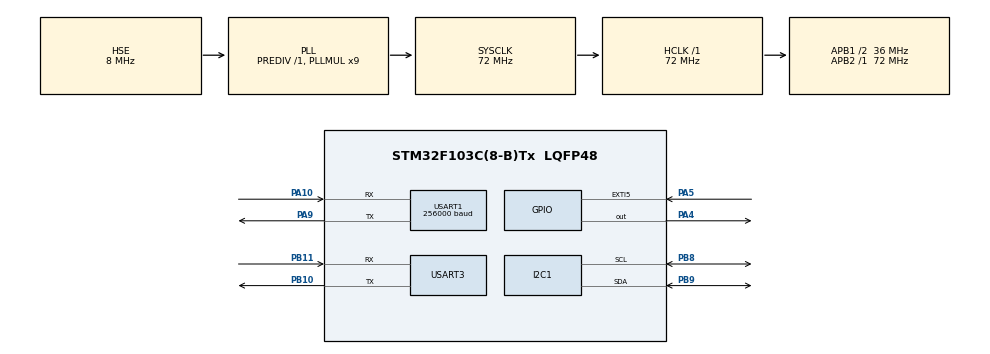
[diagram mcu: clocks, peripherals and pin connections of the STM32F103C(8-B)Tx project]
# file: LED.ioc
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FREERTOS.Tasks01=defaultTask,24,128,StartDefaultTask,Default,NULL,Dynamic,NULL,NULL
FREERTOS.configUSE_NEWLIB_REENTRANT=1
I2C1.I2C_Mode=I2C_Fast
Mcu.Family=STM32F1
Mcu.Name=STM32F103C(8-B)Tx
Mcu.Package=LQFP48
NVIC.EXTI9_5_IRQn=true\:5\:0\:false\:false\:true\:true\:true\:true\:true
NVIC.PriorityGroup=NVIC_PRIORITYGROUP_4
NVIC.TIM3_IRQn=true\:15\:0\:false\:false\:true\:false\:false\:true\:true
NVIC.TimeBase=TIM3_IRQn
NVIC.TimeBaseIP=TIM3
PA10.Mode=Asynchronous
PA10.Signal=USART1_RX
PA4.Signal=GPIO_Output
PA5.GPIO_ModeDefaultEXTI=GPIO_MODE_IT_FALLING
PA5.GPIO_PuPd=GPIO_PULLUP
PA5.Signal=GPXTI5
PA9.Mode=Asynchronous
PA9.Signal=USART1_TX
PB10.Mode=Asynchronous
PB10.Signal=USART3_TX
PB11.Mode=Asynchronous
PB11.Signal=USART3_RX
PB8.Mode=I2C
PB8.Signal=I2C1_SCL
PB9.Mode=I2C
PB9.Signal=I2C1_SDA
PD0-OSC_IN.Mode=HSE-External-Oscillator
PD0-OSC_IN.Signal=RCC_OSC_IN
PD1-OSC_OUT.Mode=HSE-External-Oscillator
PD1-OSC_OUT.Signal=RCC_OSC_OUT
ProjectManager.HeapSize=0x200
ProjectManager.StackSize=0x400
ProjectManager.TargetToolchain=STM32CubeIDE
RCC.AHBFreq_Value=72000000
RCC.APB1CLKDivider=RCC_HCLK_DIV2
RCC.APB1Freq_Value=36000000
RCC.APB1TimFreq_Value=72000000
RCC.APB2Freq_Value=72000000
RCC.APB2TimFreq_Value=72000000
RCC.HCLKFreq_Value=72000000
RCC.PLLMUL=RCC_PLL_MUL9
RCC.PLLSourceVirtual=RCC_PLLSOURCE_HSE
RCC.SYSCLKFreq_VALUE=72000000
RCC.SYSCLKSource=RCC_SYSCLKSOURCE_PLLCLK
RCC.USBFreq_Value=72000000
USART1.BaudRate=256000
USART1.VirtualMode=VM_ASYNC
USART3.VirtualMode=VM_ASYNC
VP_FREERTOS_VS_CMSIS_V2.Mode=CMSIS_V2
VP_SYS_VS_ND.Mode=No_Debug
VP_SYS_VS_tim3.Mode=TIM3
board=custom

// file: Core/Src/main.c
/* USER CODE BEGIN Header */
/**
  ******************************************************************************
  * @file           : main.c
  * @brief          : Main program body
  ******************************************************************************
  * @attention
  *
  * Copyright (c) 2022 STMicroelectronics.
  * All rights reserved.
  *
  * This software is licensed under terms that can be found in the LICENSE file
  * in the root directory of this software component.
  * If no LICENSE file comes with this software, it is provided AS-IS.
  *
  ******************************************************************************
  */
#include "mpu6050.h"
/* USER CODE END Header */
#include "main.h"
#include "cmsis_os.h"
#include "i2c.h"
#include "usart.h"
#include "gpio.h"

void SystemClock_Config(void);
void MX_FREERTOS_Init(void);

int main(void)
{

  /* MCU Configuration--------------------------------------------------------*/

  /* Reset of all peripherals, Initializes the Flash interface and the Systick. */
  HAL_Init();

  /* Configure the system clock */
  SystemClock_Config();

  /* Initialize all configured peripherals */
  MX_GPIO_Init();
  MX_USART3_UART_Init();
  MX_USART1_UART_Init();
  MX_I2C1_Init();
  /* USER CODE BEGIN 2 */
  mpu6050_init();
  /* USER CODE END 2 */

  /* Init scheduler */
  osKernelInitialize();  /* Call init function for freertos objects (in freertos.c) */
  MX_FREERTOS_Init();

  /* Start scheduler */
  osKernelStart();

  /* We should never get here as control is now taken by the scheduler */
  /* Infinite loop */
  while (1)
  {

  }
}

void SystemClock_Config(void)
{
  RCC_OscInitTypeDef RCC_OscInitStruct = {0};
  RCC_ClkInitTypeDef RCC_ClkInitStruct = {0};

  /** Initializes the RCC Oscillators according to the specified parameters
  * in the RCC_OscInitTypeDef structure.
  */
  RCC_OscInitStruct.OscillatorType = RCC_OSCILLATORTYPE_HSE;
  RCC_OscInitStruct.HSEState = RCC_HSE_ON;
  RCC_OscInitStruct.HSEPredivValue = RCC_HSE_PREDIV_DIV1;
  RCC_OscInitStruct.HSIState = RCC_HSI_ON;
  RCC_OscInitStruct.PLL.PLLState = RCC_PLL_ON;
  RCC_OscInitStruct.PLL.PLLSource = RCC_PLLSOURCE_HSE;
  RCC_OscInitStruct.PLL.PLLMUL = RCC_PLL_MUL9;
  if (HAL_RCC_OscConfig(&RCC_OscInitStruct) != HAL_OK)
  {
    Error_Handler();
  }

  /** Initializes the CPU, AHB and APB buses clocks
  */
  RCC_ClkInitStruct.ClockType = RCC_CLOCKTYPE_HCLK|RCC_CLOCKTYPE_SYSCLK
                              |RCC_CLOCKTYPE_PCLK1|RCC_CLOCKTYPE_PCLK2;
  RCC_ClkInitStruct.SYSCLKSource = RCC_SYSCLKSOURCE_PLLCLK;
  RCC_ClkInitStruct.AHBCLKDivider = RCC_SYSCLK_DIV1;
  RCC_ClkInitStruct.APB1CLKDivider = RCC_HCLK_DIV2;
  RCC_ClkInitStruct.APB2CLKDivider = RCC_HCLK_DIV1;

  if (HAL_RCC_ClockConfig(&RCC_ClkInitStruct, FLASH_LATENCY_2) != HAL_OK)
  {
    Error_Handler();
  }
}

void HAL_TIM_PeriodElapsedCallback(TIM_HandleTypeDef *htim)
{
  if (htim->Instance == TIM3) {
    HAL_IncTick();
  }
}

void Error_Handler(void)
{
  __disable_irq();
  while (1)
  {
  }
}

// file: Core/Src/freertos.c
/* USER CODE BEGIN Header */
/**
  ******************************************************************************
  * File Name          : freertos.c
  * Description        : Code for freertos applications
  ******************************************************************************
  * @attention
  *
  * Copyright (c) 2022 STMicroelectronics.
  * All rights reserved.
  *
  * This software is licensed under terms that can be found in the LICENSE file
  * in the root directory of this software component.
  * If no LICENSE file comes with this software, it is provided AS-IS.
  *
  ******************************************************************************
  */
/* USER CODE END Header */

#include "FreeRTOS.h"
#include "task.h"
#include "main.h"
#include "cmsis_os.h"
#include "debug_tool.h"

/* Definitions for defaultTask */
osThreadId_t defaultTaskHandle;
const osThreadAttr_t defaultTask_attributes = {
  .name = "defaultTask",
  .stack_size = 128 * 4,
  .priority = (osPriority_t) osPriorityNormal,
};

void StartDefaultTask(void *argument);

void MX_FREERTOS_Init(void); /* (MISRA C 2004 rule 8.1) */

void MX_FREERTOS_Init(void) {

  /* Create the thread(s) */
  /* creation of defaultTask */
  defaultTaskHandle = osThreadNew(StartDefaultTask, NULL, &defaultTask_attributes);

}

void StartDefaultTask(void *argument)
{
  /* USER CODE BEGIN StartDefaultTask */
  /* Infinite loop */
  extern int keyIntOccered;
  struct db_data data = {
		.chl = CHANNEL_1,
		.isFloat = 1,
		.fData = 3.14,
  };
  db_creat(&data);
  float val = 0;
  for(;;)
  {
	  if (keyIntOccered) {
		  HAL_GPIO_WritePin(GPIOA, GPIO_PIN_4, GPIO_PIN_SET);

		  val += 0.1f;
		  if (val > 3.14)
			  val = 0;
		  db_data_update(&data, &val);
		  db_show_data();

		  osDelay(50);
		  HAL_GPIO_WritePin(GPIOA, GPIO_PIN_4, GPIO_PIN_RESET);
		  db_show_data();
		  osDelay(50);
	  } else {
		  osDelay(1);
	  }
  }
  /* USER CODE END StartDefaultTask */
}
